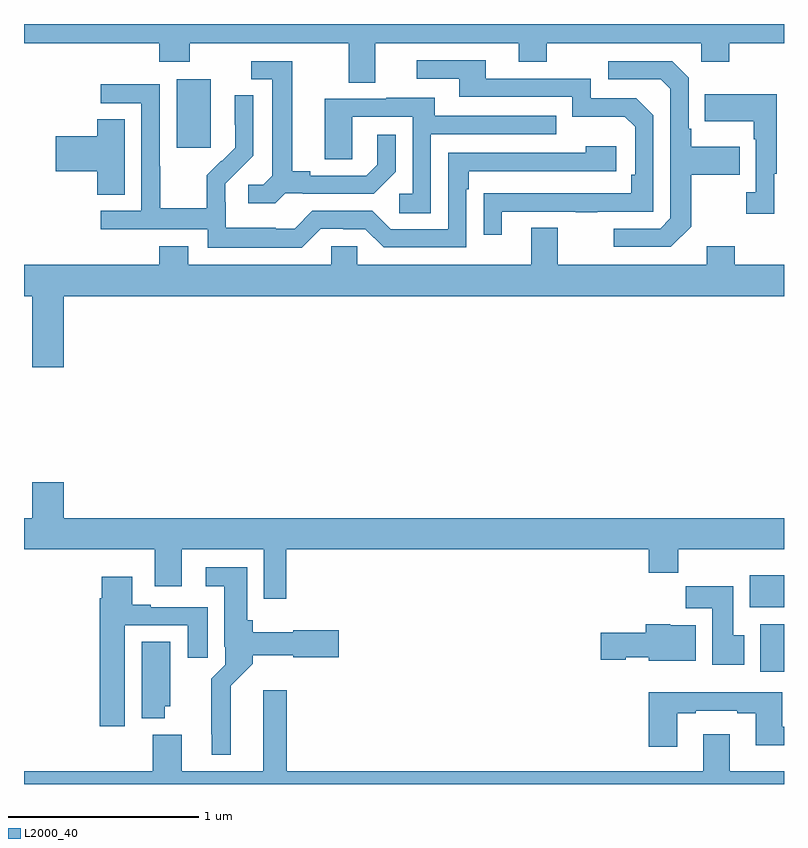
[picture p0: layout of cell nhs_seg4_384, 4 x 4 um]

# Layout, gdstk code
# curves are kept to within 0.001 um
import gdstk
lib = gdstk.Library(unit=1e-6, precision=1e-09)
def R(c, l, rs):  # rectangles x0, y0, x1, y1
    for r in rs: c.add(gdstk.rectangle(r[:2], r[2:], *l))
def P(c, l, *ps):  # polygons
    for p in ps: c.add(gdstk.Polygon(p, *l))
L2000_40 = (2000, 40)

nhs_seg4_384 = lib.new_cell('nhs_seg4_384')
R(nhs_seg4_384, L2000_40, [(132.875,813.492,133,813.742), (132.821,813.83,133,814), (129.803,816.249,129.982,816.61)])
P(nhs_seg4_384, L2000_40, [(130.849,816.8),(131.603,816.8),(131.603,816.701),(131.751,816.701),(131.751,816.8),(132.564,816.8),(132.564,816.701),(132.711,816.701),(132.711,816.8),(133,816.8),(133,816.9),(129,816.9),(129,816.8),(129.713,816.8),(129.713,816.701),(129.873,816.701),(129.873,816.8),(130.709,816.8),(130.709,816.592),(130.849,816.592)],
  [(131.515,815.913),(131.905,815.913),(131.905,815.908),(132.017,815.908),(132.017,815.913),(132.312,815.913),(132.312,816.42),(132.222,816.51),(131.982,816.51),(131.982,816.612),(131.431,816.612),(131.431,816.708),(131.067,816.708),(131.067,816.612),(131.291,816.612),(131.291,816.516),(131.886,816.516),(131.886,816.413),(132.163,816.413),(132.216,816.36),(132.216,816.106),(132.196,816.106),(132.196,816.009),(131.419,816.008),(131.419,815.79),(131.515,815.79)],
  [(130.374,816.009),(130.468,816.009),(130.468,816.006),(130.84,816.006),(130.956,816.122),(130.956,816.316),(130.859,816.316),(130.859,816.159),(130.802,816.102),(130.507,816.102),(130.507,816.125),(130.411,816.125),(130.411,816.705),(130.197,816.705),(130.197,816.609),(130.307,816.609),(130.307,816.101),(130.26,816.054),(130.179,816.054),(130.179,815.957),(130.322,815.957)],
  [(132.511,815.833),(132.511,816.106),(132.767,816.106),(132.767,816.253),(132.511,816.253),(132.511,816.349),(132.498,816.349),(132.498,816.618),(132.411,816.705),(132.075,816.705),(132.075,816.609),(132.351,816.609),(132.402,816.558),(132.402,815.877),(132.348,815.823),(132.105,815.823),(132.105,815.727),(132.405,815.727)],
  [(130.563,815.823),(130.679,815.823),(130.679,815.82),(130.797,815.82),(130.893,815.724),(131.328,815.724),(131.328,816.029),(131.341,816.029),(131.341,816.126),(132.118,816.126),(132.118,816.256),(131.957,816.256),(131.957,816.222),(131.232,816.222),(131.232,815.82),(130.929,815.82),(130.833,815.916),(130.518,815.916),(130.425,815.823),(130.325,815.823),(130.325,815.827),(130.062,815.827),(130.062,815.961),(130.06,815.961),(130.06,816.058),(130.206,816.206),(130.206,816.524),(130.11,816.524),(130.11,816.37),(130.112,816.37),(130.112,816.248),(130.041,816.177),(130.038,816.18),(129.961,816.103),(129.961,815.929),(129.717,815.929),(129.717,816.152),(129.714,816.152),(129.714,816.582),(129.405,816.582),(129.405,816.483),(129.618,816.483),(129.618,815.916),(129.405,815.916),(129.405,815.82),(129.966,815.82),(129.966,815.723),(130.463,815.723)],
  [(132.949,816.113),(132.961,816.113),(132.961,816.529),(132.583,816.529),(132.583,816.389),(132.84,816.389),(132.84,816.293),(132.852,816.293),(132.852,816.014),(132.801,816.014),(132.801,815.901),(132.949,815.901)],
  [(131.142,816.321),(131.801,816.321),(131.801,816.417),(131.161,816.417),(131.161,816.511),(130.907,816.511),(130.907,816.507),(130.583,816.507),(130.583,816.187),(130.728,816.187),(130.728,816.411),(131.046,816.411),(131.046,816.006),(130.974,816.006),(130.974,815.905),(131.142,815.905)],
  [(129.529,816.398),(129.386,816.398),(129.386,816.308),(129.168,816.308),(129.168,816.125),(129.386,816.125),(129.386,816.001),(129.529,816.001)],
  [(129.208,815.468),(133,815.468),(133,815.632),(132.741,815.632),(132.741,815.731),(132.593,815.731),(132.593,815.632),(131.809,815.632),(131.809,815.827),(131.669,815.827),(131.669,815.632),(130.755,815.632),(130.755,815.73),(130.617,815.73),(130.617,815.632),(129.865,815.632),(129.865,815.731),(129.713,815.731),(129.713,815.632),(129,815.632),(129,815.468),(129.044,815.468),(129.044,815.094),(129.208,815.094)],
  [(130.379,814.136),(132.287,814.136),(132.287,814.012),(132.443,814.012),(132.443,814.136),(133,814.136),(133,814.3),(129.208,814.3),(129.208,814.489),(129.044,814.489),(129.044,814.3),(129,814.3),(129,814.136),(129.689,814.136),(129.689,813.942),(129.829,813.942),(129.829,814.136),(130.263,814.136),(130.263,813.876),(130.379,813.876)],
  [(130.087,813.416),(130.205,813.534),(130.205,813.578),(130.416,813.578),(130.416,813.566),(130.657,813.566),(130.657,813.708),(130.416,813.708),(130.416,813.7),(130.205,813.7),(130.205,813.762),(130.174,813.762),(130.174,814.042),(129.957,814.042),(129.957,813.941),(130.055,813.941),(130.055,813.622),(130.059,813.622),(130.059,813.528),(129.985,813.454),(129.985,813.163),(129.989,813.163),(129.989,813.053),(130.087,813.053)],
  [(129.529,813.735),(129.863,813.735),(129.863,813.564),(129.967,813.564),(129.967,813.831),(129.667,813.831),(129.667,813.844),(129.571,813.844),(129.571,813.991),(129.41,813.991),(129.41,813.878),(129.398,813.878),(129.398,813.204),(129.529,813.204)],
  [(132.79,813.684),(132.733,813.684),(132.733,813.942),(132.484,813.942),(132.484,813.824),(132.623,813.824),(132.623,813.528),(132.79,813.528)],
  [(132.535,813.736),(132.402,813.736),(132.402,813.742),(132.272,813.742),(132.272,813.696),(132.036,813.696),(132.036,813.554),(132.168,813.554),(132.168,813.566),(132.288,813.566),(132.288,813.548),(132.535,813.548)],
  [(129.742,813.309),(129.769,813.309),(129.769,813.65),(129.62,813.65),(129.62,813.245),(129.742,813.245)],
  [(133,812.968),(132.715,812.968),(132.715,813.163),(132.575,813.163),(132.575,812.968),(130.382,812.968),(130.382,813.394),(130.259,813.394),(130.259,812.968),(129.829,812.968),(129.829,813.16),(129.677,813.16),(129.677,812.968),(129,812.968),(129,812.9),(133,812.9)],
  [(132.439,813.273),(132.535,813.273),(132.535,813.285),(132.755,813.285),(132.755,813.273),(132.851,813.273),(132.851,813.104),(133,813.104),(133,813.201),(132.991,813.201),(132.991,813.382),(132.287,813.382),(132.287,813.096),(132.439,813.096)])

lib.write_gds('nhs_seg4_384.gds')
